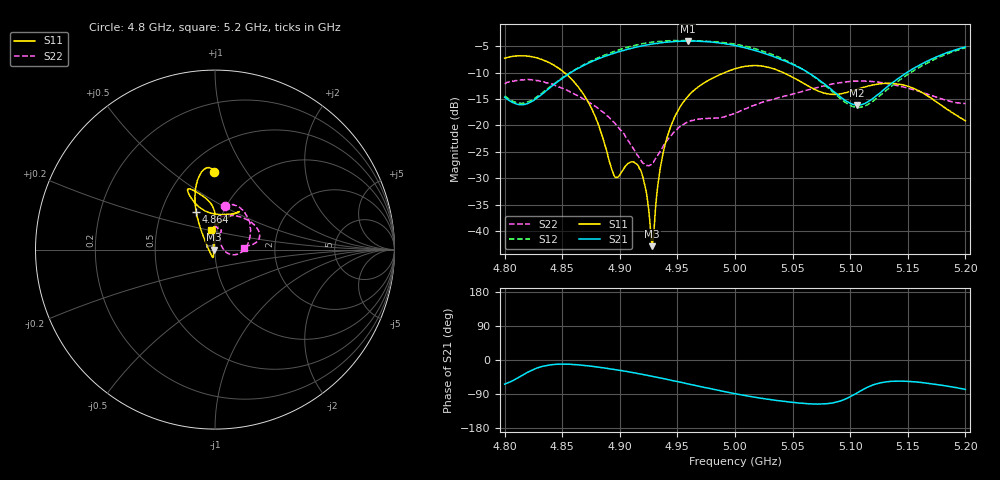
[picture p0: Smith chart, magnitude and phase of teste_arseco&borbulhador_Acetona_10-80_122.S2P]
! Network Analyzer HP8722D
! Hewlett-Packard
! Data name: Linha & Wilkinson
! Saver's name: Rodrigo Anjos
! Comments: Teste da utilização de aquisição
! continua pelo VNA HP8722D
! Time and date: 25/4/2025 16:17
!  Frequency  S11  S21  S12  S22
# HZ  S  MA R 50
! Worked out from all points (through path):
!   401 points, 4.8 GHz to 5.2 GHz, reference 50 ohm
!   highest |S21| = -3.96 dB at 4.959 GHz (marker M1); lowest = -16.1 dB at 5.106 GHz (marker M2)
!   lowest |S11| = -42.9 dB at 4.928 GHz (marker M3), VSWR 1.01, Z = 49.3 - j0.0825 ohm
!   |S11| at or under -10 dB: 4.852 GHz to 4.991 GHz (138.6 MHz wide, 2.82 % of centre); 5.042 GHz to end of sweep
!   |S22| runs from -27.6 to -11.3 dB; largest |S21 - S12| = 1.2
!   S11 on the Smith chart (normalised r, x): 4.8 GHz: 0.68, +0.72; 4.864 GHz: 0.75, +0.33; 5.2 GHz: 0.94, +0.21
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4.8e9  0.4344 90.7  0.1855 -63.7  0.1907 69.8  0.2482 77.4
4.82e9  0.4534 96.9  0.1614 -32.4  0.1671 98.5  0.2733 61.9
4.843e9  0.3725 106.3  0.2453 -11.9  0.2493 118.9  0.2428 36.8
4.864e9  0.2319 116.6  0.3499 -12.8  0.3526 121.0  0.1894 12.1
4.867e9  0.2086 118.5  0.364 -13.8  0.3675 120.8  0.1828 8.5
4.88e9  0.1114 128.5  0.4233 -18.3  0.4335 118.2  0.1489 -5.2
4.896e9  0.03222 -165.2  0.487 -25.3  0.5067 113.3  0.1042 -16.0
4.909e9  0.04485 -108.1  0.535 -31.9  0.5609 107.7  0.06705 -14.4
4.917e9  0.03917 -103.1  0.5619 -36.5  0.5887 103.5  0.04869 -1.8
4.922e9  0.02625 -107.1  0.5765 -39.3  0.6028 100.8  0.04205 16.2
4.928e9  0.007167 -173.3  0.5912 -43.0  0.6169 97.0  0.04407 41.8
4.93e9  0.01134 125.2  0.5958 -44.1  0.6199 95.7  0.04653 47.9
4.934e9  0.03222 99.8  0.6035 -46.7  0.6291 93.3  0.05435 58.0
4.943e9  0.08949 90.8  0.6194 -52.4  0.6371 87.4  0.07677 68.8
4.959e9  0.1884 89.5  0.6339 -62.9  0.639 77.4  0.1078 71.4
5e9  0.3454 109.1  0.5741 -88.9  0.5921 50.9  0.1313 88.6
5.031e9  0.3509 115.1  0.4603 -104.8  0.4762 33.3  0.1747 84.6
5.067e9  0.2263 105.3  0.3008 -115.9  0.2979 23.6  0.2225 57.2
5.106e9  0.22 64.7  0.156 -86.9  0.1482 56.0  0.2633 24.7
5.134e9  0.2506 57.4  0.2408 -56.7  0.2269 88.7  0.2478 12.4
5.169e9  0.1852 70.0  0.4185 -62.0  0.4018 84.9  0.1948 6.8
5.2e9  0.1108 100.6  0.5554 -77.6  0.545 70.2  0.1615 3.8
